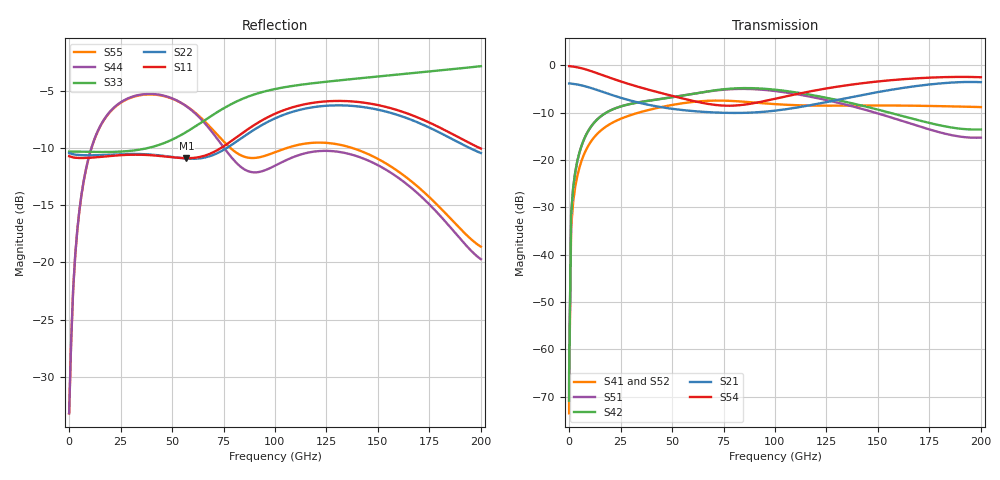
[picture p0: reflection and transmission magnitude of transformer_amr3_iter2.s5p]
#  GHZ S DB R 50
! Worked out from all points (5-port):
!   202 points, 10 MHz to 200 GHz, reference 50 ohm
!   strongest paths, dB at 10 MHz, 49 GHz, 100 GHz, 150 GHz, 200 GHz:
!     S54: -0.2, -6.3, -7.1, -3.4, -2.5
!     S21: -3.8, -9.1, -9.6, -5.7, -3.6
!     S42: -70.9, -6.8, -5.2, -9.4, -13.6
!     S51: -70.9, -6.8, -5.4, -10.2, -15.3
!     S41: -73.5, -8.5, -8.2, -8.5, -8.8
!     S52: -73.5, -8.5, -8.2, -8.6, -9.1
!   lowest |S11| = -10.9 dB at 57 GHz (marker M1), VSWR 1.80, Z = 72.7 + j27.7 ohm
!   |S11| at or under -10 dB: start of sweep to 73.91 GHz; 199.1798 GHz to end of sweep
